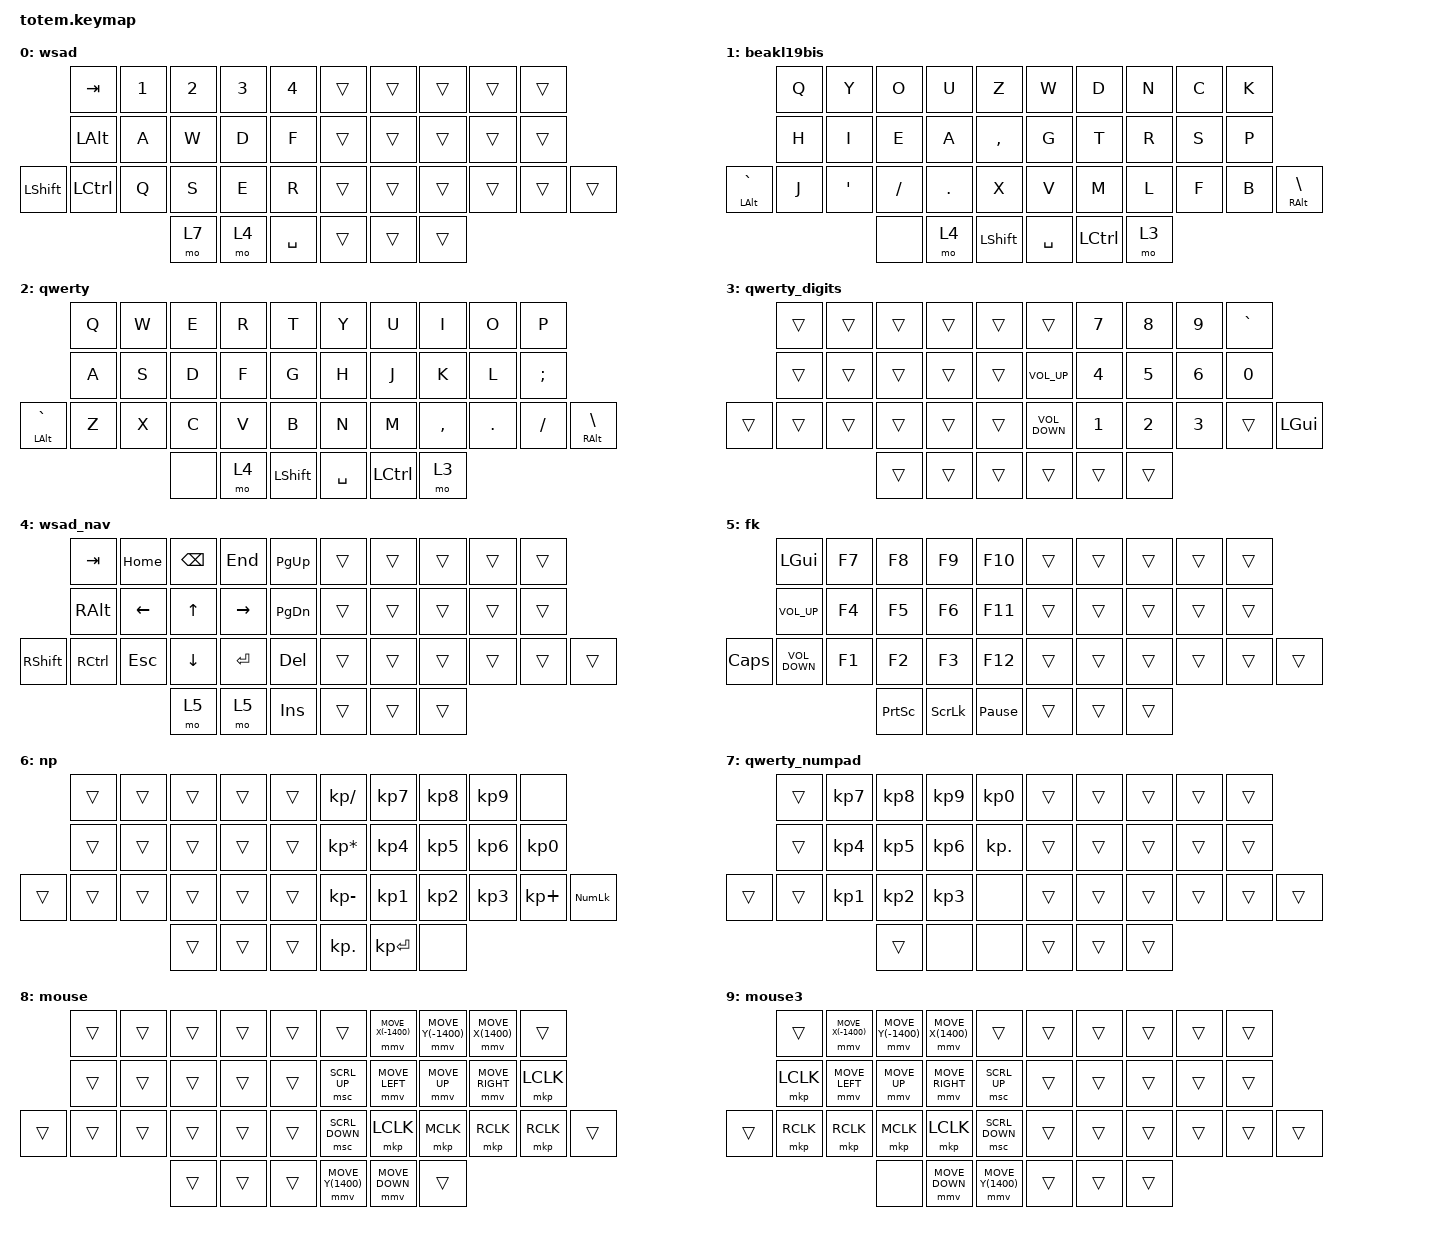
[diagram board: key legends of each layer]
//
//                                                        ▀▀▀▀▀     ▀▀▀▀▀          ▀▀█▀▀
//                                                        ▄▀▀▀▄  ▄  ▄▀▀▀▄  ▄  ▄▀▀▀▄  █  ▄▀▀▀▄
//                                                        █   █  █  █   █  █  █   █  █  █   █
//                                                         ▀▀▀   █   ▀▀▀   █   ▀▀▀   ▀   ▀▀▀
//                                                               █      ▄▄▄█▄▄▄    █   █  
//                                                               ▀      █  █  █     █▄█
//                                                             ▀▀▀▀▀    █  █  █      ▀
//                                                                      ▀  ▀  ▀
//
// ▄▄▄▄▄▄▄▄▄▄▄▄▄▄▄▄▄▄▄▄▄▄▄▄▄▄▄▄▄▄▄▄▄▄▄▄▄▄▄▄▄▄▄▄▄▄▄▄▄▄▄▄▄▄▄▄▄▄▄▄▄▄▄▄▄▄▄▄▄▄▄▄▄▄▄▄▄▄▄▄▄▄▄▄▄▄▄▄▄▄▄▄▄▄▄▄▄▄▄▄▄▄▄▄▄▄▄▄▄▄▄▄▄▄▄▄▄▄▄▄▄▄▄▄▄▄▄▄▄▄▄▄▄▄▄▄▄▄▄▄▄▄▄▄▄▄▄▄▄

#include <behaviors.dtsi>
#include <dt-bindings/zmk/keys.h>
#include <dt-bindings/zmk/pointing.h>

#define wsad   0
#define beakl   1
#define qwerty   2
#define qwerty_digits    3
#define wsad_nav   4
#define fk   5
#define np    6
#define qwerty_numpad    7
#define mouse    8
#define mouse3    9
#define ZMK_POINTING_DEFAULT_MOVE_VAL 80  // default: 600

&mmv {
    time-to-max-speed-ms = <0>;
    acceleration-exponent = <0>;
};

&mt {
    quick-tap-ms = <0>;
    flavor = "tap-preferred";
    tapping-term-ms = <250>;
};

/ {
    combos {
        compatible = "zmk,combos";

        wsad_toggle {
            bindings = <&tog 1>;
            key-positions = <25 21>;
            layers = <0 1 2>;
        };

        numpad {
            bindings = <&tog 6>;
            key-positions = <6 8 7>;
            layers = <1 6 2>;
        };

        mouse {
            bindings = <&tog 8>;
            key-positions = <15 19>;
            layers = <8 1 2>;
        };

        toggle_left_nav {
            bindings = <&tog 4>;
            key-positions = <4 0>;
            layers = <1 4 0 2>;
        };

        st_numpad {
            bindings = <&sl 6>;
            key-positions = <6 8>;
            layers = <1 2>;
        };

        mouse3 {
            bindings = <&tog 9>;
            key-positions = <10 14>;
            layers = <1 9 0 2>;
        };

        br_l {
            bindings = <&kp LEFT_BRACKET>;
            key-positions = <17 28>;
            layers = <1 2>;
        };

        br_r {
            bindings = <&kp RIGHT_BRACKET>;
            key-positions = <18 29>;
            layers = <1 2>;
        };

        quote {
            bindings = <&kp SINGLE_QUOTE>;
            key-positions = <8 18>;
            layers = <2>;
        };

        st_fkeys {
            bindings = <&sl 5>;
            key-positions = <13 14>;
            layers = <1 0 2>;
            timeout-ms = <15>;
        };

        shift1 {
            bindings = <&kp LS(NUMBER_1)>;
            key-positions = <27 16>;
            layers = <1 2>;
        };

        shift2 {
            bindings = <&kp LS(NUMBER_2)>;
            key-positions = <1 11>;
            layers = <1 2>;
        };

        shift3 {
            bindings = <&kp LS(NUMBER_3)>;
            key-positions = <2 12>;
            layers = <1 2>;
        };

        shift4 {
            bindings = <&kp LS(NUMBER_4)>;
            key-positions = <3 13>;
            layers = <1 2>;
        };

        shift5 {
            bindings = <&kp LS(N5)>;
            key-positions = <4 14>;
            layers = <1 2>;
        };

        shift6 {
            bindings = <&kp LS(NUMBER_6)>;
            key-positions = <5 15>;
            layers = <1>;
        };

        shift7 {
            bindings = <&kp LS(N7)>;
            key-positions = <6 16>;
            layers = <1 2>;
        };

        shift8 {
            bindings = <&kp LS(N8)>;
            key-positions = <7 17>;
            layers = <1 2>;
        };

        shift9 {
            bindings = <&kp LS(N9)>;
            key-positions = <22 11>;
            layers = <1 2>;
        };

        shift0 {
            bindings = <&kp LS(N0)>;
            key-positions = <12 23>;
            layers = <1 2>;
        };

        minus {
            bindings = <&kp MINUS>;
            key-positions = <13 24>;
            layers = <1 2>;
        };

        equal {
            bindings = <&kp EQUAL>;
            key-positions = <14 25>;
            layers = <1 2>;
        };

        qwerty_l {
            bindings = <&tog 2>;
            key-positions = <20 34>;
            layers = <1 2>;
        };

        qwerty_r {
            bindings = <&tog 2>;
            key-positions = <35 31>;
            layers = <1 2>;
        };

        semicolon {
            bindings = <&kp SEMICOLON>;
            key-positions = <8 18>;
            layers = <1>;
        };

        q_br_l {
            bindings = <&kp LEFT_BRACKET>;
            key-positions = <22 11 33>;
            layers = <0>;
        };

        q_br_r {
            bindings = <&kp RIGHT_BRACKET>;
            key-positions = <23 12 33>;
            layers = <0>;
        };

        q_quote {
            bindings = <&kp SINGLE_QUOTE>;
            key-positions = <1 11 33>;
            layers = <0>;
        };

        qwerty_5 {
            bindings = <&kp N5>;
            key-positions = <1 11>;
            layers = <0>;
            timeout-ms = <15>;
        };

        qwerty_6 {
            bindings = <&kp NUMBER_6>;
            key-positions = <12 2>;
            layers = <0>;
            timeout-ms = <15>;
        };

        qwerty_7 {
            bindings = <&kp N7>;
            key-positions = <3 13>;
            layers = <0>;
            timeout-ms = <15>;
        };

        qwerty_8 {
            bindings = <&kp N8>;
            key-positions = <4 14>;
            layers = <0>;
            timeout-ms = <15>;
        };

        qwerty_9 {
            bindings = <&kp N9>;
            key-positions = <1 2>;
            layers = <0>;
            timeout-ms = <50>;
        };

        qwerty_0 {
            bindings = <&kp N0>;
            key-positions = <3 2>;
            layers = <0>;
            timeout-ms = <50>;
        };

        qwerty_z {
            bindings = <&kp Z>;
            key-positions = <22 11>;
            layers = <0>;
            timeout-ms = <15>;
        };

        qwerty_x {
            bindings = <&kp X>;
            key-positions = <23 12>;
            layers = <0>;
            timeout-ms = <15>;
        };

        qwerty_c {
            bindings = <&kp C>;
            key-positions = <24 13>;
            layers = <0>;
            timeout-ms = <15>;
        };

        qwerty_v {
            bindings = <&kp V>;
            key-positions = <14 25>;
            layers = <0>;
            timeout-ms = <15>;
        };

        qwerty_t {
            bindings = <&kp T>;
            key-positions = <22 23>;
            layers = <0>;
            timeout-ms = <50>;
        };

        qwerty_g {
            bindings = <&kp G>;
            key-positions = <23 24>;
            layers = <0>;
            timeout-ms = <50>;
        };

        qwerty_b {
            bindings = <&kp B>;
            key-positions = <24 25>;
            layers = <0>;
            timeout-ms = <15>;
        };

        qwerty_min {
            bindings = <&kp MINUS>;
            key-positions = <33 12 2>;
            layers = <0>;
        };

        qwerty_equ {
            bindings = <&kp EQUAL>;
            key-positions = <33 3 13>;
            layers = <0>;
        };

        qwerty_grave {
            bindings = <&kp GRAVE>;
            key-positions = <0 1>;
            layers = <0>;
            timeout-ms = <50>;
        };

        nump {
            bindings = <&tog 7>;
            key-positions = <1 2 3>;
            layers = <1 0 2 7>;
            timeout-ms = <15>;
        };

        qwerty_y {
            bindings = <&kp Y>;
            key-positions = <4 33>;
            layers = <0>;
        };

        qwerty_u {
            bindings = <&kp U>;
            key-positions = <33 3>;
            layers = <0>;
        };

        qwerty_i {
            bindings = <&kp I>;
            key-positions = <33 2>;
            layers = <0>;
        };

        qwerty_o {
            bindings = <&kp O>;
            key-positions = <33 1>;
            layers = <0>;
        };

        qwerty_p {
            bindings = <&kp P>;
            key-positions = <33 0>;
            layers = <0>;
        };

        qwerty_h {
            bindings = <&kp H>;
            key-positions = <33 14>;
            layers = <0>;
        };

        qwerty_j {
            bindings = <&kp J>;
            key-positions = <33 13>;
            layers = <0>;
        };

        qwerty_k {
            bindings = <&kp K>;
            key-positions = <33 12>;
            layers = <0>;
        };

        qwerty_l_key {
            bindings = <&kp L>;
            key-positions = <33 11>;
            layers = <0>;
        };

        qwerty_n {
            bindings = <&kp N>;
            key-positions = <33 25>;
            layers = <0>;
        };

        qwerty_m {
            bindings = <&kp M>;
            key-positions = <33 24>;
            layers = <0>;
        };

        qwerty_comma {
            bindings = <&kp COMMA>;
            key-positions = <33 23>;
            layers = <0>;
        };

        qwerty_period {
            bindings = <&kp PERIOD>;
            key-positions = <33 22>;
            layers = <0>;
        };

        qwerty_sk {
            bindings = <&kp SEMI>;
            key-positions = <33 13 24>;
            layers = <0>;
        };

        qwerty_slash {
            bindings = <&kp SLASH>;
            key-positions = <33 14 25>;
            layers = <0>;
        };

        qwerty_bslash {
            bindings = <&kp BACKSLASH>;
            key-positions = <33 14 4>;
            layers = <0>;
        };

        wsad_cpgup {
            bindings = <&kp LC(PG_UP)>;
            key-positions = <32 12>;
            layers = <0>;
            timeout-ms = <45>;
        };

        wsad_cpgdn {
            bindings = <&kp LC(PAGE_DOWN)>;
            key-positions = <32 23>;
            layers = <0>;
            timeout-ms = <45>;
        };

        num_div {
            bindings = <&kp KP_DIVIDE>;
            key-positions = <1 11>;
            layers = <7>;
        };

        num_mult {
            bindings = <&kp KP_MULTIPLY>;
            key-positions = <2 12>;
            layers = <7>;
        };

        num_minus {
            bindings = <&kp KP_SUBTRACT>;
            key-positions = <3 13>;
            layers = <7>;
        };

        num_plus {
            bindings = <&kp KP_PLUS>;
            key-positions = <13 24>;
            layers = <7>;
        };

        num_nlock {
            bindings = <&kp KP_NUMLOCK>;
            key-positions = <22 11>;
            layers = <7>;
        };

        num_ent {
            bindings = <&kp KP_ENTER>;
            key-positions = <23 12>;
            layers = <7>;
        };
    };

    behaviors {
        wasd_nums: wasd_nums {
            compatible = "zmk,behavior-hold-tap";
            label = "WASD_NUMS";
            bindings = <&kp>, <&kp>;

            #binding-cells = <2>;
            quick-tap-ms = <0>;
            tapping-term-ms = <250>;
            require-prior-idle-ms = <0>;
        };

        hl_mod: hl_mod {
            compatible = "zmk,behavior-hold-tap";
            label = "HL_MOD";
            bindings = <&mo>, <&kp>;

            #binding-cells = <2>;
            tapping-term-ms = <300>;
            quick-tap-ms = <0>;
            require-prior-idle-ms = <0>;
            flavor = "balanced";
        };

        layer_stlayer: layer_stlayer {
            compatible = "zmk,behavior-hold-tap";
            label = "LAYER_STLAYER";
            bindings = <&mo>, <&sl>;

            #binding-cells = <2>;
            quick-tap-ms = <0>;
            tapping-term-ms = <250>;
            require-prior-idle-ms = <0>;
        };

        kp_stlayer: kp_stlayer {
            compatible = "zmk,behavior-hold-tap";
            label = "KP_STLAYER";
            bindings = <&kp>, <&sl>;

            #binding-cells = <2>;
            quick-tap-ms = <0>;
            tapping-term-ms = <250>;
            require-prior-idle-ms = <0>;
        };
    };

    keymap {
        compatible = "zmk,keymap";

        // ▄▄▄▄▄▄▄▄▄▄▄▄▄▄▄▄▄▄▄▄▄▄▄▄▄▄▄▄▄▄▄▄▄▄▄▄▄▄▄▄▄▄▄▄▄▄▄▄▄▄▄▄▄▄▄▄▄▄▄▄▄▄▄▄▄▄▄▄▄▄▄▄▄▄▄▄▄▄▄▄▄▄▄▄▄▄▄▄▄▄▄▄▄▄▄▄▄▄▄▄▄▄▄▄▄▄▄▄▄▄▄▄▄▄▄▄▄▄▄▄▄▄▄▄▄▄▄▄▄▄▄▄▄▄▄▄▄▄▄▄▄▄▄▄▄▄▄▄▄

        wsad {
            bindings = <
           &kp TAB    &kp N1  &kp N2  &kp N3  &kp N4       &trans  &trans  &trans  &trans  &trans
           &kp LALT   &kp A   &kp W   &kp D   &kp F        &trans  &trans  &trans  &trans  &trans
&kp LSHFT  &kp LCTRL  &kp Q   &kp S   &kp E   &kp R        &trans  &trans  &trans  &trans  &trans  &trans
                              &mo 7   &mo 4   &kp SPACE    &trans  &trans  &trans
            >;

            label = "wsad";
        };

        beakl19bis {
            // ┏━━━━━━━━━━━━━━━━━━━━━━━━━━━━━━━━━━━━━━━┓

            label = "beakl19bis";

            // ┗━━━━━━━━━━━━━━━━━━━━━━━━━━━━━━━━━━━━━━━┛
            //             ┏━━━━━━━━━━━┳━━━━━━━━━━━┳━━━━━━━━━━━┳━━━━━━━━━━━┳━━━━━━━━━━━┓   ┏━━━━━━━━━━━┳━━━━━━━━━━━┳━━━━━━━━━━━┳━━━━━━━━━━━┳━━━━━━━━━━━┓
            //             ┃     Q     ┃     W     ┃     F     ┃     P     ┃     G     ┃   ┃     J     ┃     L     ┃     U     ┃     Y     ┃     ;     ┃
            //             ┣━━━━━━━━━━━╋━━━━━━━━━━━╋━━━━━━━━━━━╋━━━━━━━━━━━╋━━━━━━━━━━━┫   ┣━━━━━━━━━━━╋━━━━━━━━━━━╋━━━━━━━━━━━╋━━━━━━━━━━━╋━━━━━━━━━━━┫
            //             ┃     A     ┃     R     ┃     S     ┃     T     ┃     D     ┃   ┃     H     ┃     N     ┃     E     ┃     I     ┃     O     ┃
            // ┏━━━━━━━━━━━╋━━━━━━━━━━━╋━━━━━━━━━━━╋━━━━━━━━━━━╋━━━━━━━━━━━╋━━━━━━━━━━━┫   ┣━━━━━━━━━━━╋━━━━━━━━━━━╋━━━━━━━━━━━╋━━━━━━━━━━━╋━━━━━━━━━━━╋━━━━━━━━━━━┓
            // ┃     Q     ┃     Z     ┃     X     ┃     C     ┃     V     ┃     B     ┃   ┃     K     ┃     M     ┃     ,     ┃     .     ┃     /     ┃     \     ┃
            // ┗━━━━━━━━━━━┻━━━━━━━━━━━┻━━━━━━━━━━━╋━━━━━━━━━━━╋━━━━━━━━━━━╋━━━━━━━━━━━┫   ┣━━━━━━━━━━━╋━━━━━━━━━━━╋━━━━━━━━━━━╋━━━━━━━━━━━┻━━━━━━━━━━━┻━━━━━━━━━━━┛
            //                                     ┃    DEL    ┃    TAB    ┃    SPC    ┃   ┃   ENTER   ┃           ┃   BSPC    ┃
            //                                     ┗━━━━━━━━━━━┻━━━━━━━━━━━┻━━━━━━━━━━━┛   ┗━━━━━━━━━━━┻━━━━━━━━━━━┻━━━━━━━━━━━┛

            bindings = <
                &kp Q  &kp Y     &kp O     &kp U    &kp Z        &kp W      &kp D      &kp N  &kp C  &kp K
                &kp H  &kp I     &kp E     &kp A    &kp COMMA    &kp G      &kp T      &kp R  &kp S  &kp P
&mt LALT GRAVE  &kp J  &kp APOS  &kp FSLH  &kp DOT  &kp X        &kp V      &kp M      &kp L  &kp F  &kp B  &mt RALT BACKSLASH
                                 &none     &mo 4    &kp LSHFT    &kp SPACE  &kp LCTRL  &mo 3
            >;
        };

        qwerty {
            bindings = <
                &kp Q  &kp W  &kp E  &kp R  &kp T        &kp Y      &kp U      &kp I      &kp O    &kp P
                &kp A  &kp S  &kp D  &kp F  &kp G        &kp H      &kp J      &kp K      &kp L    &kp SEMI
&mt LALT GRAVE  &kp Z  &kp X  &kp C  &kp V  &kp B        &kp N      &kp M      &kp COMMA  &kp DOT  &kp FSLH  &mt RIGHT_ALT BSLH
                              &none  &mo 4  &kp LSHFT    &kp SPACE  &kp LCTRL  &mo 3
            >;

            label = "qwerty";
        };

        qwerty_digits {
            bindings = <
        &trans  &trans  &trans  &trans  &trans    &trans             &kp N7  &kp N8  &kp N9  &kp GRAVE
        &trans  &trans  &trans  &trans  &trans    &kp C_VOLUME_UP    &kp N4  &kp N5  &kp N6  &kp N0
&trans  &trans  &trans  &trans  &trans  &trans    &kp C_VOLUME_DOWN  &kp N1  &kp N2  &kp N3  &trans     &kp LGUI
                        &trans  &trans  &trans    &trans             &trans  &trans
            >;

            label = "qwerty_digits";
        };

        wsad_nav {
            label = "wsad_nav";
            bindings = <
                 &kp TAB        &kp HOME        &kp BSPC      &kp END          &kp PG_UP        &trans  &trans  &trans  &trans  &trans
                 &kp RIGHT_ALT  &kp LEFT_ARROW  &kp UP_ARROW  &kp RIGHT_ARROW  &kp PAGE_DOWN    &trans  &trans  &trans  &trans  &trans
&kp RIGHT_SHIFT  &kp RCTRL      &kp ESC         &kp DOWN      &kp ENTER        &kp DEL          &trans  &trans  &trans  &trans  &trans  &trans
                                                &mo 5         &mo 5            &kp INS          &trans  &trans  &trans
            >;
        };

        Fkeys {
            bindings = <
          &kp LGUI           &kp F7  &kp F8     &kp F9          &kp F10            &trans  &trans  &trans  &trans  &trans
          &kp C_VOLUME_UP    &kp F4  &kp F5     &kp F6          &kp F11            &trans  &trans  &trans  &trans  &trans
&kp CAPS  &kp C_VOLUME_DOWN  &kp F1  &kp F2     &kp F3          &kp F12            &trans  &trans  &trans  &trans  &trans  &trans
                                     &kp PSCRN  &kp SCROLLLOCK  &kp PAUSE_BREAK    &trans  &trans  &trans
            >;

            label = "fk";
        };

        numpad {
            bindings = <
        &trans  &trans  &trans  &trans  &trans    &kp KP_DIVIDE    &kp KP_N7        &kp KP_N8  &kp KP_N9  &none
        &trans  &trans  &trans  &trans  &trans    &kp KP_MULTIPLY  &kp KP_NUMBER_4  &kp KP_N5  &kp KP_N6  &kp KP_NUMBER_0
&trans  &trans  &trans  &trans  &trans  &trans    &kp KP_MINUS     &kp KP_N1        &kp KP_N2  &kp KP_N3  &kp KP_PLUS      &kp KP_NUM
                        &trans  &trans  &trans    &kp KP_DOT       &kp KP_ENTER     &none
            >;

            label = "np";
        };

        qwerty_numpad {
            bindings = <
        &trans  &kp KP_NUMBER_7  &kp KP_NUMBER_8  &kp KP_NUMBER_9  &kp KP_N0     &trans  &trans  &trans  &trans  &trans
        &trans  &kp KP_NUMBER_4  &kp KP_NUMBER_5  &kp KP_NUMBER_6  &kp KP_DOT    &trans  &trans  &trans  &trans  &trans
&trans  &trans  &kp KP_NUMBER_1  &kp KP_NUMBER_2  &kp KP_NUMBER_3  &none         &trans  &trans  &trans  &trans  &trans  &trans
                                 &trans           &none            &none         &trans  &trans  &trans
            >;

            label = "qwerty_numpad";
        };

        mouse {
            bindings = <
        &trans  &trans  &trans  &trans  &trans    &trans             &mmv MOVE_X(-1400)  &mmv MOVE_Y(-1400)  &mmv MOVE_X(1400)  &trans
        &trans  &trans  &trans  &trans  &trans    &msc SCRL_UP       &mmv MOVE_LEFT      &mmv MOVE_UP        &mmv MOVE_RIGHT    &mkp LCLK
&trans  &trans  &trans  &trans  &trans  &trans    &msc SCRL_DOWN     &mkp LCLK           &mkp MCLK           &mkp RCLK          &mkp RCLK  &trans
                        &trans  &trans  &trans    &mmv MOVE_Y(1400)  &mmv MOVE_DOWN      &trans
            >;

            label = "mouse";
        };

        mouse3 {
            bindings = <
        &trans     &mmv MOVE_X(-1400)  &mmv MOVE_Y(-1400)  &mmv MOVE_X(1400)  &trans               &trans  &trans  &trans  &trans  &trans
        &mkp LCLK  &mmv MOVE_LEFT      &mmv MOVE_UP        &mmv MOVE_RIGHT    &msc SCRL_UP         &trans  &trans  &trans  &trans  &trans
&trans  &mkp RCLK  &mkp RCLK           &mkp MCLK           &mkp LCLK          &msc SCRL_DOWN       &trans  &trans  &trans  &trans  &trans  &trans
                                       &none               &mmv MOVE_DOWN     &mmv MOVE_Y(1400)    &trans  &trans  &trans
            >;

            label = "mouse3";
        };
    };

    conditional_layers { compatible = "zmk,conditional-layers"; };
};
